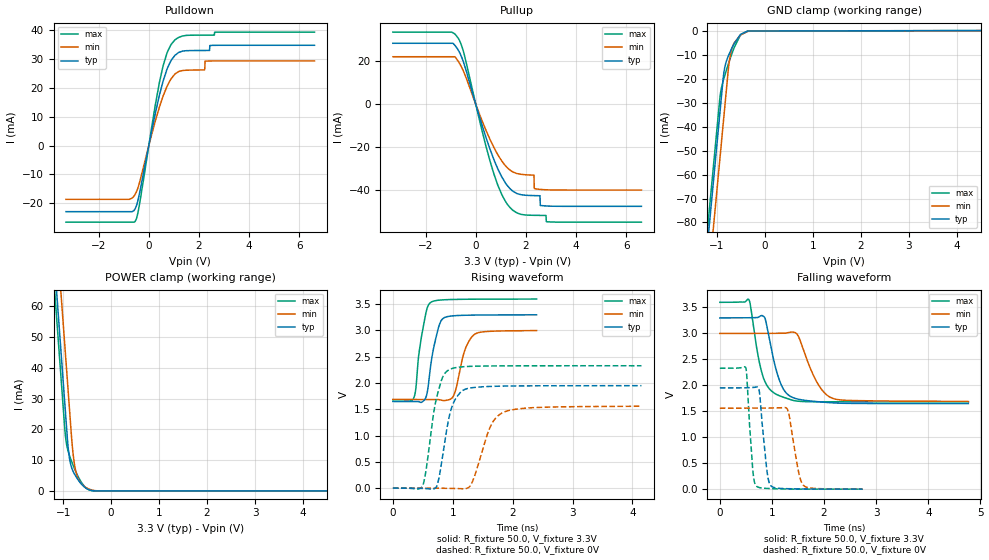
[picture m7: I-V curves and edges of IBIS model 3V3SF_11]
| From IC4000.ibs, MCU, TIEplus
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[Model] 3V3SF_11
Model_type I/O
Polarity   Non-Inverting
Enable   Active-Low
| CAP_THRESHOLD on pad IO is "CMOS" :
| Rising=10.0% of vdde3v3   Falling=90.0% of vdde3v3
| C_comp min and max val. don't necessarily correlate with the min and max pvt
| but are the smallest and greatest pad capacitance found.
| var   typ   min   max
C_comp   1.30990pF  1.26715pF  1.34440pF
Vinl = 750.0mV
Vinh = 2.25V
Vmeas = 1.65V   | Reference voltage for timing measurements
Cref  = 15.0pF   | Timing specification test load capacitance value
Rref  = 1.0MOhm   | Timing specification test load resistance value
Vref  = 3.3V   | Timing specification test load voltage
[Model Spec]
| TIME_THRESHOLD on pin ZI is "CORE" :
| Rising=50.0% of vdd   Falling=50.0% of vdd
Vinl 825.00000mV 750.00000mV 900.00000mV
Vinh 2.06250V 1.87500V 2.25000V
Vmeas 1.65000V 1.50000V 1.80000V
Vref 3.30000V 3.00000V 3.60000V
| variable   typ   min   max
[Temperature Range] 25.0 125.0 -40.0
| variable   typ   min   max
[Voltage Range] 3.3V 3.0V 3.6V
| variable   typ   min   max
[POWER Clamp Reference] 3.3V 3.0V 3.6V
| variable   typ   min   max
[GND Clamp Reference] 0V 0V 0V
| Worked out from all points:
|   slope of the pulldown table from 0 to 0.495 V, typ, clamps not added: 24.8 ohm
|   slope of the pullup table from 0 to 0.495 V, typ, clamps not added: 26.9 ohm
|   GND clamp passes 1 mA (typ) near -0.46 V on its own axis
|   POWER clamp passes 1 mA (typ) near -0.53 V on its own axis
|   rising waveform, R_fixture 50.0, V_fixture 3.3V: 20-80 % time 147ps typ, 176ps min, 134ps max; typ from 1.65 V to 3.3 V
|   falling waveform, R_fixture 50.0, V_fixture 3.3V: 20-80 % time 257ps typ, 345ps min, 235ps max; typ from 3.3 V to 1.65 V
|   rising waveform, R_fixture 50.0, V_fixture 0V: 20-80 % time 190ps typ, 274ps min, 193ps max; typ from 0 V to 1.95 V
|   falling waveform, R_fixture 50.0, V_fixture 0V: 20-80 % time 111ps typ, 156ps min, 89.7ps max; typ from 1.95 V to 0 V
[POWER Clamp]
-3.3V     524.6mA    543.5mA    516.1mA
-1.18V    74.13mA    93.03mA    65.73mA
-1.13V    63.5mA     82.4mA     55.11mA
-1.08V    52.88mA    71.78mA    44.49mA
-1.02V    40.13mA    59.03mA    31.74mA
-950mV    25.26mA    44.16mA    17.6mA
-900mV    14.93mA    33.53mA    13.17mA
-860mV    9.966mA    25.03mA    11.19mA
-800mV    6.661mA    13.2mA     8.673mA
-730mV    4.611mA    5.971mA    6.078mA
-460mV    377.7uA    599uA      338.7uA
6.6V      0A         0A         0A
[GND Clamp]
-3.3V     -535.9mA   -555mA     -529.5mA
-1.29V    -108.7mA   -127.9mA   -102.4mA
-1.13V    -74.74mA   -93.9mA    -68.39mA
-980mV    -42.86mA   -62.03mA   -36.51mA
-940mV    -34.36mA   -53.53mA   -28.08mA
-870mV    -19.62mA   -38.65mA   -20.84mA
-840mV    -15.5mA    -32.28mA   -18.78mA
-750mV    -9.826mA   -13.78mA   -13.06mA
-690mV    -7.205mA   -7.402mA   -9.546mA
-510mV    -1.433mA   -1.704mA   -1.633mA
-360mV    -54.77uA   -167.6uA   -42.24uA
6.6V      207.7uA    165.9uA    268.6uA
| variable   typ   min   max
[Pullup Reference] 3.3V 3.0V 3.6V
| variable   typ   min   max
[Pulldown Reference] 0V 0V 0V
[Pullup]
-3.3V     28.29mA    22.05mA    33.49mA
-910mV    28.29mA    22.05mA    33.2mA
-700mV    25.21mA    19.99mA    30.72mA
-470mV    18.91mA    14.81mA    23.6mA
730mV     -25.92mA   -20.25mA   -32.62mA
1.5V      -40.58mA   -31.58mA   -49.44mA
2.32V     -42.44mA   -32.95mA   -51.59mA
2.33V     -42.44mA   -38.74mA   -51.59mA
2.43V     -42.47mA   -39.38mA   -51.61mA
2.56V     -42.5mA    -39.55mA   -51.63mA
2.58V     -47.03mA   -39.57mA   -51.63mA
6.6V      -47.43mA   -39.87mA   -54.79mA
[Pulldown]
-3.3V     -22.92mA   -18.65mA   -26.58mA
-770mV    -22.92mA   -18.65mA   -26.58mA
-530mV    -21.66mA   -16.7mA    -26.09mA
-360mV    -16.13mA   -12.53mA   -19.82mA
420mV     17.42mA    13.3mA     21.81mA
730mV     26.64mA    20.66mA    32.27mA
1.04V     31.32mA    24.84mA    36.68mA
2.22V     33mA       26.27mA    38.32mA
2.24V     33.01mA    29.3mA     38.32mA
2.42V     33.01mA    29.35mA    38.32mA
2.44V     34.75mA    29.36mA    38.32mA
6.6V      34.81mA    29.38mA    39.38mA
[Ramp]
dV/dt_r 1.16975V/189.50514ps 935.39258mV/274.0416ps 1.39725V/192.9901ps
dV/dt_f 989.53002mV/257.16879ps 786.49611mV/345.14286ps 1.14965V/234.50303ps
R_load = 50.0
| Removed startup time: 0s 0s 0s  .
| Removed end time: 2.38ns.
[Rising Waveform]
R_fixture   = 50.0
V_fixture   = 3.3V
V_fixture_min = 3.0V
V_fixture_max = 3.6V
0s        1.649V     1.688V     1.682V
350ps     1.65V      1.688V     1.719V
540ps     1.699V     1.688V     3.27V
630ps     2.327V     1.689V     3.534V
760ps     3.05V      1.686V     3.576V
860ps     3.245V     1.665V     3.585V
1.02ns    3.281V     1.777V     3.591V
1.2ns     3.29V      2.622V     3.594V
1.35ns    3.293V     2.915V     3.596V
2.4ns     3.298V     2.999V     3.598V
| Removed startup time: 0s 0s 0s  .
| Removed end time: 4.75ns.
[Falling Waveform]
R_fixture   = 50.0
V_fixture   = 3.3V
V_fixture_min = 3.0V
V_fixture_max = 3.6V
0s        3.298V     2.999V     3.598V
560ps     3.301V     2.998V     3.644V
730ps     3.307V     2.999V     2.59V
830ps     3.334V     2.999V     2.164V
880ps     3.246V     2.999V     2.041V
1.15ns    2.081V     3.001V     1.797V
1.48ns    1.739V     2.988V     1.696V
1.86ns    1.686V     2.066V     1.683V
2.17ns    1.662V     1.748V     1.682V
4.77ns    1.649V     1.688V     1.682V
| Removed startup time: 0s 0s 0s  .
| Removed end time: 4.13ns.
[Rising Waveform]
R_fixture   = 50.0
V_fixture   = 0V
V_fixture_min = 0V
V_fixture_max = 0V
0s        157uV      144.5uV    187.5uV
500ps     -6.421mV   259.1uV    54.8mV
740ps     60.63mV    -240.4uV   1.768V
840ps     685.8mV    -3.195mV   2.133V
950ps     1.409V     -4.009mV   2.26V
1.1ns     1.785V     -9.984mV   2.302V
1.29ns    1.906V     42.06mV    2.318V
1.63ns    1.936V     1.177V     2.325V
1.86ns    1.942V     1.45V      2.327V
4.15ns    1.95V      1.559V     2.329V
| Removed startup time: 0s 0s 0s  .
| Removed end time: 2.72ns.
[Falling Waveform]
R_fixture   = 50.0
V_fixture   = 0V
V_fixture_min = 0V
V_fixture_max = 0V
0s        1.95V      1.559V     2.329V
500ps     1.951V     1.559V     2.332V
630ps     1.957V     1.56V      402mV
710ps     1.969V     1.56V      52.34mV
760ps     1.87V      1.56V      30.45mV
900ps     390.5mV    1.562V     14.45mV
980ps     66.13mV    1.563V     10.41mV
1.3ns     8.98mV     1.531V     2.718mV
1.61ns    3.86mV     68.96mV    702.8uV
2.74ns    157uV      144uV      187.5uV
